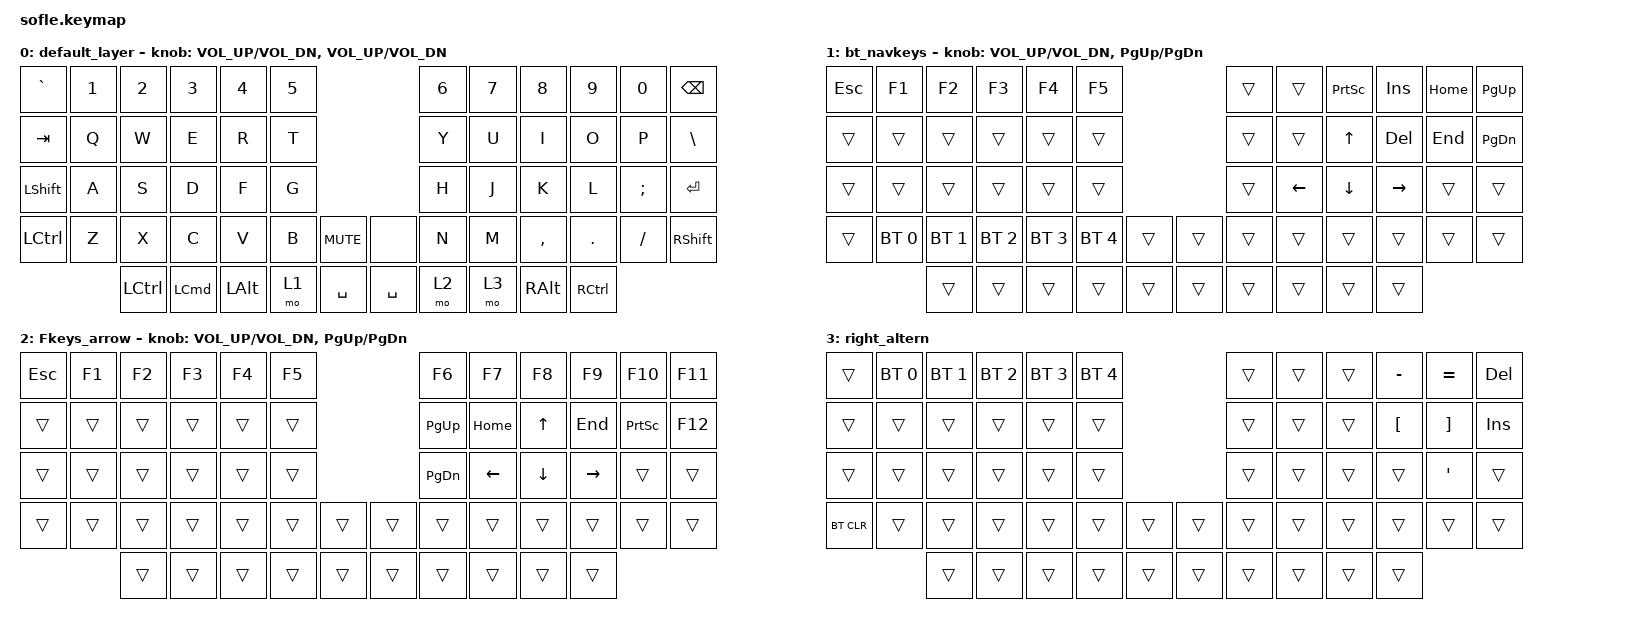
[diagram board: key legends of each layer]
/*
 * Copyright (c) 2020 The ZMK Contributors
 *
 * SPDX-License-Identifier: MIT
 */

#include <behaviors.dtsi>
#include <dt-bindings/zmk/bt.h>
#include <dt-bindings/zmk/keys.h>

/ {
    keymap {
        compatible = "zmk,keymap";

        default_layer {
            // ------------------------------------------------------------------------------------------------------------
            // |  `    |  1  |  2  |  3   |  4   |  5   |                   |  6   |  7    |  8    |  9   |   0   |       |
            // |  ESC  |  Q  |  W  |  E   |  R   |  T   |                   |  Y   |  U    |  I    |  O   |   P   | BKSPC |
            // |  TAB  |  A  |  S  |  D   |  F   |  G   |                   |  H   |  J    |  K    |  L   |   ;   |   '   |
            // | SHIFT |  Z  |  X  |  C   |  V   |  B   |  MUTE  |  |       |  N   |  M    |  ,    |  .   |   /   | SHIFT |
            //               | GUI | ALT  | CTRL | LOWER|  ENTER |  | SPACE | RAISE| CTRL  | ALT   | GUI  |

            bindings = <
&kp GRAVE   &kp N1  &kp N2     &kp N3            &kp N4        &kp N5                           &kp N6  &kp N7  &kp N8     &kp N9             &kp N0    &kp BSPC
&kp TAB     &kp Q   &kp W      &kp E             &kp R         &kp T                            &kp Y   &kp U   &kp I      &kp O              &kp P     &kp BSLH
&kp LSHIFT  &kp A   &kp S      &kp D             &kp F         &kp G                            &kp H   &kp J   &kp K      &kp L              &kp SEMI  &kp ENTER
&kp LCTRL   &kp Z   &kp X      &kp C             &kp V         &kp B   &kp C_MUTE    &none      &kp N   &kp M   &kp COMMA  &kp DOT            &kp FSLH  &kp RSHFT
                    &kp LCTRL  &kp LEFT_COMMAND  &kp LEFT_ALT  &mo 1   &kp SPACE     &kp SPACE  &mo 2   &mo 3   &kp RALT   &kp RIGHT_CONTROL
            >;

            sensor-bindings =
                <&inc_dec_kp C_VOL_UP C_VOL_DN>,
                <&inc_dec_kp C_VOL_UP C_VOL_DN>;
        };

        bt_navkeys {
            // ------------------------------------------------------------------------------------------------------------
            // |BTCLR| BT1  | BT2  |  BT3  |  BT4  |  BT5 |                |      |      |       |      |       |       |
            // |     | INS  | PSCR | GUI   |       |      |                | PGUP |      |       |      |       |       |
            // |     | ALT  | CTRL | SHIFT |       | CAPS |                |  <-  |   v  |   ^   |  ->  |  DEL  | BKSPC |
            // |     | UNDO | CUT  | COPY  | PASTE |      |      |  |      |      |      |       |      |       |       |
            //              |      |       |       |      |      |  |      |      |      |       |      |

            bindings = <
&kp ESCAPE  &kp F1        &kp F2        &kp F3        &kp F4        &kp F5                          &trans  &trans          &kp PRINTSCREEN  &kp INS    &kp HOME  &kp PAGE_UP
&trans      &trans        &trans        &trans        &trans        &trans                          &trans  &trans          &kp UP_ARROW     &kp DEL    &kp END   &kp PAGE_DOWN
&trans      &trans        &trans        &trans        &trans        &trans                          &trans  &kp LEFT_ARROW  &kp DOWN_ARROW   &kp RIGHT  &trans    &trans
&trans      &bt BT_SEL 0  &bt BT_SEL 1  &bt BT_SEL 2  &bt BT_SEL 3  &bt BT_SEL 4  &trans    &trans  &trans  &trans          &trans           &trans     &trans    &trans
                          &trans        &trans        &trans        &trans        &trans    &trans  &trans  &trans          &trans           &trans
            >;

            sensor-bindings = <&inc_dec_kp C_VOL_UP C_VOL_DN &inc_dec_kp PG_UP PG_DN>;
        };

        Fkeys_arrow {
            // TODO: Some binds are waiting for shifted keycode support.
            // ------------------------------------------------------------------------------------------------------------
            // |       |  F1 |  F2 |  F3  |  F4  |  F5  |                   |  F6  |  F7   |  F8   |  F9  |  F10  |  F11  |
            // | `     |   1 |   2 |   3  |   4  |   5  |                   |   6  |   7   |   8   |   9  |    0  |  F12  |
            // |       |  !  |  @  |  #   |  $   |  %   |                   |  ^   |  &    |  *    |  (   |   )   |   |   |
            // |       |  =  |  -  |  +   |  {   |  }   |        |  |       |  [   |  ]    |  ;    |  :   |   \   |       |
            //               |     |      |      |      |        |  |       |      |       |       |      |

            bindings = <
&kp ESCAPE  &kp F1  &kp F2  &kp F3  &kp F4  &kp F5                    &kp F6         &kp F7    &kp F8    &kp F9     &kp F10          &kp F11
&trans      &trans  &trans  &trans  &trans  &trans                    &kp PAGE_UP    &kp HOME  &kp UP    &kp END    &kp PRINTSCREEN  &kp F12
&trans      &trans  &trans  &trans  &trans  &trans                    &kp PAGE_DOWN  &kp LEFT  &kp DOWN  &kp RIGHT  &trans           &trans
&trans      &trans  &trans  &trans  &trans  &trans  &trans    &trans  &trans         &trans    &trans    &trans     &trans           &trans
                    &trans  &trans  &trans  &trans  &trans    &trans  &trans         &trans    &trans    &trans
            >;

            sensor-bindings = <&inc_dec_kp C_VOL_UP C_VOL_DN &inc_dec_kp PG_UP PG_DN>;
        };

        right_altern {
            bindings = <
&trans      &bt BT_SEL 0  &bt BT_SEL 1  &bt BT_SEL 2  &bt BT_SEL 3  &bt BT_SEL 4                    &trans  &trans  &trans  &kp MINUS  &kp EQUAL  &kp DEL
&trans      &trans        &trans        &trans        &trans        &trans                          &trans  &trans  &trans  &kp LBKT   &kp RBKT   &kp INSERT
&trans      &trans        &trans        &trans        &trans        &trans                          &trans  &trans  &trans  &trans     &kp APOS   &trans
&bt BT_CLR  &trans        &trans        &trans        &trans        &trans        &trans    &trans  &trans  &trans  &trans  &trans     &trans     &trans
                          &trans        &trans        &trans        &trans        &trans    &trans  &trans  &trans  &trans  &trans
            >;
        };
    };
};
